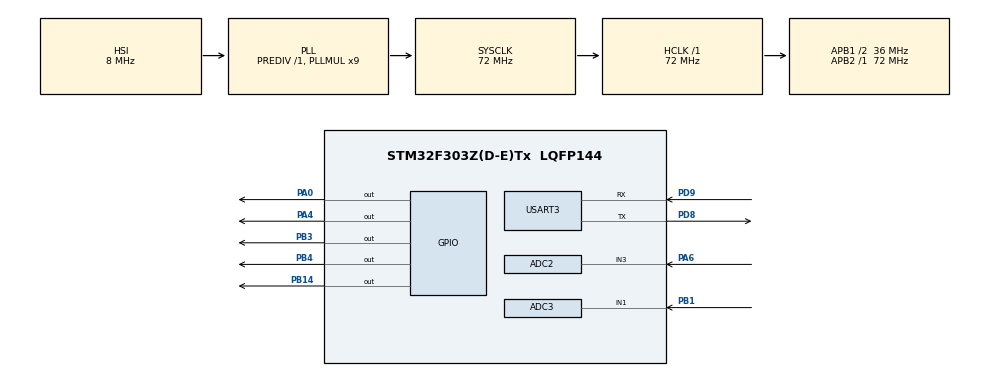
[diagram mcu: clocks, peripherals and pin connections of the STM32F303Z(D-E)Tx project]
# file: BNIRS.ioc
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ADC2.Channel-3\#ChannelRegularConversion=ADC_CHANNEL_3
ADC2.DMAContinuousRequests=ENABLE
ADC2.ExternalTrigConv=ADC_EXTERNALTRIGCONV_T3_TRGO
ADC2.NbrOfConversion=1
ADC2.NbrOfConversionFlag=1
ADC2.Offset-3\#ChannelRegularConversion=0
ADC2.OffsetNumber-3\#ChannelRegularConversion=ADC_OFFSET_NONE
ADC2.Rank-3\#ChannelRegularConversion=1
ADC2.SamplingTime-3\#ChannelRegularConversion=ADC_SAMPLETIME_1CYCLE_5
ADC3.Channel-0\#ChannelRegularConversion=ADC_CHANNEL_1
ADC3.NbrOfConversionFlag=1
ADC3.Offset-0\#ChannelRegularConversion=0
ADC3.OffsetNumber-0\#ChannelRegularConversion=ADC_OFFSET_NONE
ADC3.Rank-0\#ChannelRegularConversion=1
ADC3.SamplingTime-0\#ChannelRegularConversion=ADC_SAMPLETIME_1CYCLE_5
ADC3.master=1
Dma.ADC2.1.Direction=DMA_PERIPH_TO_MEMORY
Dma.ADC2.1.Instance=DMA2_Channel1
Dma.ADC2.1.MemDataAlignment=DMA_MDATAALIGN_HALFWORD
Dma.ADC2.1.MemInc=DMA_MINC_ENABLE
Dma.ADC2.1.Mode=DMA_CIRCULAR
Dma.ADC2.1.PeriphDataAlignment=DMA_PDATAALIGN_HALFWORD
Dma.ADC2.1.PeriphInc=DMA_PINC_DISABLE
Dma.ADC2.1.Priority=DMA_PRIORITY_LOW
Dma.Request0=TIM6_UP
Dma.Request1=ADC2
Dma.TIM6_UP.0.Direction=DMA_PERIPH_TO_MEMORY
Dma.TIM6_UP.0.Instance=DMA1_Channel3
Dma.TIM6_UP.0.MemDataAlignment=DMA_MDATAALIGN_WORD
Dma.TIM6_UP.0.MemInc=DMA_MINC_ENABLE
Dma.TIM6_UP.0.Mode=DMA_CIRCULAR
Dma.TIM6_UP.0.PeriphDataAlignment=DMA_PDATAALIGN_WORD
Dma.TIM6_UP.0.PeriphInc=DMA_PINC_DISABLE
Dma.TIM6_UP.0.Priority=DMA_PRIORITY_LOW
Mcu.Family=STM32F3
Mcu.Name=STM32F303Z(D-E)Tx
Mcu.Package=LQFP144
NVIC.DMA1_Channel3_IRQn=true\:0\:0\:false\:false\:true\:false\:true
NVIC.DMA2_Channel1_IRQn=true\:0\:0\:false\:false\:true\:false\:true
NVIC.PriorityGroup=NVIC_PRIORITYGROUP_4
PA0.Signal=GPIO_Output
PA4.Signal=GPIO_Output
PA6.Mode=IN3-Single-Ended
PA6.Signal=ADC2_IN3
PB1.Mode=IN1-Single-Ended
PB1.Signal=ADC3_IN1
PB14.Signal=GPIO_Output
PB3.Signal=GPIO_Output
PB4.Signal=GPIO_Output
PD8.Mode=Asynchronous
PD8.Signal=USART3_TX
PD9.Mode=Asynchronous
PD9.Signal=USART3_RX
PF0-OSC_IN.Mode=HSE-External-Oscillator
PF0-OSC_IN.Signal=RCC_OSC_IN
PF1-OSC_OUT.Mode=HSE-External-Oscillator
PF1-OSC_OUT.Signal=RCC_OSC_OUT
ProjectManager.HeapSize=0x200
ProjectManager.StackSize=0x400
ProjectManager.TargetToolchain=STM32CubeIDE
RCC.AHBFreq_Value=72000000
RCC.APB1CLKDivider=RCC_HCLK_DIV2
RCC.APB1Freq_Value=36000000
RCC.APB1TimFreq_Value=72000000
RCC.APB2Freq_Value=72000000
RCC.APB2TimFreq_Value=72000000
RCC.CortexFreq_Value=72000000
RCC.HCLKFreq_Value=72000000
RCC.HSE_VALUE=8000000
RCC.HSI_VALUE=8000000
RCC.LSE_VALUE=32768
RCC.PLLMUL=RCC_PLL_MUL9
RCC.PRESCALERUSB=RCC_USBCLKSOURCE_PLL_DIV1_5
RCC.SYSCLKFreq_VALUE=72000000
RCC.SYSCLKSourceVirtual=RCC_SYSCLKSOURCE_PLLCLK
RCC.USBFreq_Value=48000000
TIM3.Period=2
TIM3.Prescaler=1799
TIM3.TIM_MasterOutputTrigger=TIM_TRGO_UPDATE
TIM6.Period=2
TIM6.Prescaler=17999
USART3.VirtualMode-Asynchronous=VM_ASYNC
VP_TIM3_VS_ClockSourceINT.Mode=Internal
VP_TIM6_VS_ClockSourceINT.Mode=Enable_Timer
board=NUCLEO-F303ZE

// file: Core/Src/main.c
/* USER CODE BEGIN Header */
/**
  ******************************************************************************
  * @author         : André Luís Conradt
  * @email          : andre.conradt@gmail.com
  * @file           : main.c
  * @brief          : Main program body
  ******************************************************************************
  * @attention
  *
  * <h2><center>&copy; Copyright (c) 2020 STMicroelectronics.
  * All rights reserved.</center></h2>
  *
  * This software component is licensed by ST under BSD 3-Clause license,
  * the "License"; You may not use this file except in compliance with the
  * License. You may obtain a copy of the License at:
  *                        opensource.org/licenses/BSD-3-Clause
  *
  ******************************************************************************
  */
/* USER CODE END Header */

#include "main.h"
#include <stdio.h>

/* USER CODE BEGIN PTD */
#ifdef __GNUC__
  /* With GCC, small printf (option LD Linker->Libraries->Small printf
     set to 'Yes') calls __io_putchar() */
  #define PUTCHAR_PROTOTYPE int __io_putchar(int ch)
#else
  #define PUTCHAR_PROTOTYPE int fputc(int ch, FILE *f)
#endif /* __GNUC__ */
/* USER CODE END PTD */

ADC_HandleTypeDef hadc2;
ADC_HandleTypeDef hadc3;
DMA_HandleTypeDef hdma_adc2;

TIM_HandleTypeDef htim3;
TIM_HandleTypeDef htim6;
DMA_HandleTypeDef hdma_tim6_up;

UART_HandleTypeDef huart3;

void SystemClock_Config(void);
static void MX_GPIO_Init(void);
static void MX_DMA_Init(void);
static void MX_USART3_UART_Init(void);
static void MX_TIM6_Init(void);
static void MX_ADC2_Init(void);
static void MX_ADC3_Init(void);
static void MX_TIM3_Init(void);

/* USER CODE BEGIN 0 */
//binary sequence to be written in the BSRR register of the GPIOA port pin PA0
uint32_t DIBS_sequence[] =
{1,1,1,65536,65536,65536,65536,65536,1,1,65536,1,1,65536,1,65536,1,1,1,65536,65536,65536,65536,65536,1,1,65536,1,1,65536,1,65536}; // 1 -> High & 65536 -> Low

int Measures = 0, Decade = 0, Led1 = 0, Led2 = 0, Led3 = 0;
uint16_t ADC_BIA0[2001], ADC_BIA1[2001], ADC_BIA2[2001], ADC_BIA3[2001];
uint32_t DECADA0[2001], DECADA1[2001], DECADA2[2001], DECADA3[2001];
/* USER CODE END 0 */

int main(void)
{

  /* MCU Configuration--------------------------------------------------------*/

  /* Reset of all peripherals, Initializes the Flash interface and the Systick. */
  HAL_Init();

  /* Configure the system clock */
  SystemClock_Config();

  /* Initialize all configured peripherals */
  MX_GPIO_Init();
  MX_DMA_Init();
  MX_USART3_UART_Init();
  MX_TIM6_Init();
  MX_ADC2_Init();
  MX_ADC3_Init();
  MX_TIM3_Init();
  /* USER CODE BEGIN 2 */
  NIRS(); //Function responsible for activating the 3 infrared leds and measuring the voltage of the photo diode
  Measurement0(); //Function responsible for injecting the first decade of DIBS
  /* USER CODE END 2 */

  /* Infinite loop */
  while (1)
  {

  }
}

void SystemClock_Config(void)
{
  RCC_OscInitTypeDef RCC_OscInitStruct = {0};
  RCC_ClkInitTypeDef RCC_ClkInitStruct = {0};
  RCC_PeriphCLKInitTypeDef PeriphClkInit = {0};

  /** Initializes the CPU, AHB and APB busses clocks
  */
  RCC_OscInitStruct.OscillatorType = RCC_OSCILLATORTYPE_HSI;
  RCC_OscInitStruct.HSIState = RCC_HSI_ON;
  RCC_OscInitStruct.HSICalibrationValue = RCC_HSICALIBRATION_DEFAULT;
  RCC_OscInitStruct.PLL.PLLState = RCC_PLL_ON;
  RCC_OscInitStruct.PLL.PLLSource = RCC_PLLSOURCE_HSI;
  RCC_OscInitStruct.PLL.PLLMUL = RCC_PLL_MUL9;
  RCC_OscInitStruct.PLL.PREDIV = RCC_PREDIV_DIV1;
  if (HAL_RCC_OscConfig(&RCC_OscInitStruct) != HAL_OK)
  {
    Error_Handler();
  }
  /** Initializes the CPU, AHB and APB busses clocks
  */
  RCC_ClkInitStruct.ClockType = RCC_CLOCKTYPE_HCLK|RCC_CLOCKTYPE_SYSCLK
                              |RCC_CLOCKTYPE_PCLK1|RCC_CLOCKTYPE_PCLK2;
  RCC_ClkInitStruct.SYSCLKSource = RCC_SYSCLKSOURCE_PLLCLK;
  RCC_ClkInitStruct.AHBCLKDivider = RCC_SYSCLK_DIV1;
  RCC_ClkInitStruct.APB1CLKDivider = RCC_HCLK_DIV2;
  RCC_ClkInitStruct.APB2CLKDivider = RCC_HCLK_DIV1;

  if (HAL_RCC_ClockConfig(&RCC_ClkInitStruct, FLASH_LATENCY_2) != HAL_OK)
  {
    Error_Handler();
  }
  PeriphClkInit.PeriphClockSelection = RCC_PERIPHCLK_USART3|RCC_PERIPHCLK_ADC12
                              |RCC_PERIPHCLK_ADC34|RCC_PERIPHCLK_TIM34;
  PeriphClkInit.Usart3ClockSelection = RCC_USART3CLKSOURCE_PCLK1;
  PeriphClkInit.Adc12ClockSelection = RCC_ADC12PLLCLK_DIV1;
  PeriphClkInit.Adc34ClockSelection = RCC_ADC34PLLCLK_DIV1;
  PeriphClkInit.Tim34ClockSelection = RCC_TIM34CLK_HCLK;
  if (HAL_RCCEx_PeriphCLKConfig(&PeriphClkInit) != HAL_OK)
  {
    Error_Handler();
  }
}

static void MX_ADC2_Init(void)
{

  ADC_ChannelConfTypeDef sConfig = {0};

  /** Common config
  */
  hadc2.Instance = ADC2;
  hadc2.Init.ClockPrescaler = ADC_CLOCK_ASYNC_DIV1;
  hadc2.Init.Resolution = ADC_RESOLUTION_12B;
  hadc2.Init.ScanConvMode = ADC_SCAN_DISABLE;
  hadc2.Init.ContinuousConvMode = DISABLE;
  hadc2.Init.DiscontinuousConvMode = DISABLE;
  hadc2.Init.ExternalTrigConvEdge = ADC_EXTERNALTRIGCONVEDGE_RISING;
  hadc2.Init.ExternalTrigConv = ADC_EXTERNALTRIGCONV_T3_TRGO;
  hadc2.Init.DataAlign = ADC_DATAALIGN_RIGHT;
  hadc2.Init.NbrOfConversion = 1;
  hadc2.Init.DMAContinuousRequests = ENABLE;
  hadc2.Init.EOCSelection = ADC_EOC_SINGLE_CONV;
  hadc2.Init.LowPowerAutoWait = DISABLE;
  hadc2.Init.Overrun = ADC_OVR_DATA_OVERWRITTEN;
  if (HAL_ADC_Init(&hadc2) != HAL_OK)
  {
    Error_Handler();
  }
  /** Configure Regular Channel
  */
  sConfig.Channel = ADC_CHANNEL_3;
  sConfig.Rank = ADC_REGULAR_RANK_1;
  sConfig.SingleDiff = ADC_SINGLE_ENDED;
  sConfig.SamplingTime = ADC_SAMPLETIME_1CYCLE_5;
  sConfig.OffsetNumber = ADC_OFFSET_NONE;
  sConfig.Offset = 0;
  if (HAL_ADC_ConfigChannel(&hadc2, &sConfig) != HAL_OK)
  {
    Error_Handler();
  }

}

static void MX_ADC3_Init(void)
{

  ADC_MultiModeTypeDef multimode = {0};
  ADC_ChannelConfTypeDef sConfig = {0};

  /** Common config
  */
  hadc3.Instance = ADC3;
  hadc3.Init.ClockPrescaler = ADC_CLOCK_ASYNC_DIV1;
  hadc3.Init.Resolution = ADC_RESOLUTION_12B;
  hadc3.Init.ScanConvMode = ADC_SCAN_DISABLE;
  hadc3.Init.ContinuousConvMode = DISABLE;
  hadc3.Init.DiscontinuousConvMode = DISABLE;
  hadc3.Init.ExternalTrigConvEdge = ADC_EXTERNALTRIGCONVEDGE_NONE;
  hadc3.Init.ExternalTrigConv = ADC_SOFTWARE_START;
  hadc3.Init.DataAlign = ADC_DATAALIGN_RIGHT;
  hadc3.Init.NbrOfConversion = 1;
  hadc3.Init.DMAContinuousRequests = DISABLE;
  hadc3.Init.EOCSelection = ADC_EOC_SINGLE_CONV;
  hadc3.Init.LowPowerAutoWait = DISABLE;
  hadc3.Init.Overrun = ADC_OVR_DATA_OVERWRITTEN;
  if (HAL_ADC_Init(&hadc3) != HAL_OK)
  {
    Error_Handler();
  }
  /** Configure the ADC multi-mode
  */
  multimode.Mode = ADC_MODE_INDEPENDENT;
  if (HAL_ADCEx_MultiModeConfigChannel(&hadc3, &multimode) != HAL_OK)
  {
    Error_Handler();
  }
  /** Configure Regular Channel
  */
  sConfig.Channel = ADC_CHANNEL_1;
  sConfig.Rank = ADC_REGULAR_RANK_1;
  sConfig.SingleDiff = ADC_SINGLE_ENDED;
  sConfig.SamplingTime = ADC_SAMPLETIME_1CYCLE_5;
  sConfig.OffsetNumber = ADC_OFFSET_NONE;
  sConfig.Offset = 0;
  if (HAL_ADC_ConfigChannel(&hadc3, &sConfig) != HAL_OK)
  {
    Error_Handler();
  }

}

static void MX_TIM3_Init(void)
{

  TIM_ClockConfigTypeDef sClockSourceConfig = {0};
  TIM_MasterConfigTypeDef sMasterConfig = {0};

  /* USER CODE BEGIN TIM3_Init 1 */
  htim3.Instance = TIM3;
  htim3.Init.Prescaler = 999;
  /* USER CODE END TIM3_Init 1 */
  htim3.Init.CounterMode = TIM_COUNTERMODE_UP;
  htim3.Init.Period = 1;
  htim3.Init.ClockDivision = TIM_CLOCKDIVISION_DIV1;
  htim3.Init.AutoReloadPreload = TIM_AUTORELOAD_PRELOAD_DISABLE;
  if (HAL_TIM_Base_Init(&htim3) != HAL_OK)
  {
    Error_Handler();
  }
  sClockSourceConfig.ClockSource = TIM_CLOCKSOURCE_INTERNAL;
  if (HAL_TIM_ConfigClockSource(&htim3, &sClockSourceConfig) != HAL_OK)
  {
    Error_Handler();
  }
  sMasterConfig.MasterOutputTrigger = TIM_TRGO_UPDATE;
  sMasterConfig.MasterSlaveMode = TIM_MASTERSLAVEMODE_DISABLE;
  if (HAL_TIMEx_MasterConfigSynchronization(&htim3, &sMasterConfig) != HAL_OK)
  {
    Error_Handler();
  }

}

static void MX_TIM6_Init(void)
{

  TIM_MasterConfigTypeDef sMasterConfig = {0};

  /* USER CODE BEGIN TIM6_Init 1 */
  htim6.Instance = TIM6;
  htim6.Init.Prescaler = 17999;
  /* USER CODE END TIM6_Init 1 */
  htim6.Init.CounterMode = TIM_COUNTERMODE_UP;
  htim6.Init.Period = 1;
  htim6.Init.AutoReloadPreload = TIM_AUTORELOAD_PRELOAD_DISABLE;
  if (HAL_TIM_Base_Init(&htim6) != HAL_OK)
  {
    Error_Handler();
  }
  sMasterConfig.MasterOutputTrigger = TIM_TRGO_RESET;
  sMasterConfig.MasterSlaveMode = TIM_MASTERSLAVEMODE_DISABLE;
  if (HAL_TIMEx_MasterConfigSynchronization(&htim6, &sMasterConfig) != HAL_OK)
  {
    Error_Handler();
  }

}

static void MX_USART3_UART_Init(void)
{

  huart3.Instance = USART3;
  huart3.Init.BaudRate = 38400;
  huart3.Init.WordLength = UART_WORDLENGTH_8B;
  huart3.Init.StopBits = UART_STOPBITS_1;
  huart3.Init.Parity = UART_PARITY_NONE;
  huart3.Init.Mode = UART_MODE_TX_RX;
  huart3.Init.HwFlowCtl = UART_HWCONTROL_NONE;
  huart3.Init.OverSampling = UART_OVERSAMPLING_16;
  huart3.Init.OneBitSampling = UART_ONE_BIT_SAMPLE_DISABLE;
  huart3.AdvancedInit.AdvFeatureInit = UART_ADVFEATURE_NO_INIT;
  if (HAL_UART_Init(&huart3) != HAL_OK)
  {
    Error_Handler();
  }

}

static void MX_DMA_Init(void)
{

  /* DMA controller clock enable */
  __HAL_RCC_DMA1_CLK_ENABLE();
  __HAL_RCC_DMA2_CLK_ENABLE();

  /* DMA interrupt init */
  /* DMA1_Channel3_IRQn interrupt configuration */
  HAL_NVIC_SetPriority(DMA1_Channel3_IRQn, 0, 0);
  HAL_NVIC_EnableIRQ(DMA1_Channel3_IRQn);
  /* DMA2_Channel1_IRQn interrupt configuration */
  HAL_NVIC_SetPriority(DMA2_Channel1_IRQn, 0, 0);
  HAL_NVIC_EnableIRQ(DMA2_Channel1_IRQn);

}

static void MX_GPIO_Init(void)
{
  GPIO_InitTypeDef GPIO_InitStruct = {0};

  /* GPIO Ports Clock Enable */
  __HAL_RCC_GPIOF_CLK_ENABLE();
  __HAL_RCC_GPIOA_CLK_ENABLE();
  __HAL_RCC_GPIOB_CLK_ENABLE();
  __HAL_RCC_GPIOD_CLK_ENABLE();

  /*Configure GPIO pin Output Level */
  HAL_GPIO_WritePin(GPIOA, GPIO_PIN_0|GPIO_PIN_4, GPIO_PIN_RESET);

  /*Configure GPIO pin Output Level */
  HAL_GPIO_WritePin(GPIOB, GPIO_PIN_14|GPIO_PIN_3|GPIO_PIN_4, GPIO_PIN_RESET);

  /*Configure GPIO pins : PA0 PA4 */
  GPIO_InitStruct.Pin = GPIO_PIN_0|GPIO_PIN_4;
  GPIO_InitStruct.Mode = GPIO_MODE_OUTPUT_PP;
  GPIO_InitStruct.Pull = GPIO_NOPULL;
  GPIO_InitStruct.Speed = GPIO_SPEED_FREQ_HIGH;
  HAL_GPIO_Init(GPIOA, &GPIO_InitStruct);

  /*Configure GPIO pins : PB14 PB3 PB4 */
  GPIO_InitStruct.Pin = GPIO_PIN_14|GPIO_PIN_3|GPIO_PIN_4;
  GPIO_InitStruct.Mode = GPIO_MODE_OUTPUT_PP;
  GPIO_InitStruct.Pull = GPIO_NOPULL;
  GPIO_InitStruct.Speed = GPIO_SPEED_FREQ_LOW;
  HAL_GPIO_Init(GPIOB, &GPIO_InitStruct);

}

/* USER CODE BEGIN 4 */
PUTCHAR_PROTOTYPE
{
  /* Place your implementation of fputc here */
  /* e.g. write a character to the EVAL_COM1 and Loop until the end of transmission */
  HAL_UART_Transmit(&huart3, (uint8_t *)&ch, 1, 0xFFFF);

  return ch;
}

/**
  ******************************************************************************
  Here all the functions are responsible for the impedance analyzer and NIRS for
  this project. The loop routine is maintained by the HAL_ADC_ConvCpltCallback
  function, which is always triggered at the end of an ADC conversion by DMA.
  ******************************************************************************
  */
void NIRS(void)
{
	  HAL_GPIO_WritePin(GPIOA,GPIO_PIN_4,GPIO_PIN_SET);
	  HAL_Delay(500);
	  HAL_ADC_Start(&hadc3);
	  HAL_ADC_PollForConversion(&hadc3, HAL_MAX_DELAY);
	  Led1 = HAL_ADC_GetValue(&hadc3);
	  HAL_ADC_Stop(&hadc3);
	  HAL_GPIO_WritePin(GPIOA,GPIO_PIN_4,GPIO_PIN_RESET);

	  HAL_GPIO_WritePin(GPIOB,GPIO_PIN_3,GPIO_PIN_SET);
	  HAL_Delay(500);
	  HAL_ADC_Start(&hadc3);
	  HAL_ADC_PollForConversion(&hadc3, HAL_MAX_DELAY);
	  Led2 = HAL_ADC_GetValue(&hadc3);
	  HAL_ADC_Stop(&hadc3);
	  HAL_GPIO_WritePin(GPIOB,GPIO_PIN_3,GPIO_PIN_RESET);

	  HAL_GPIO_WritePin(GPIOB,GPIO_PIN_4,GPIO_PIN_SET);
	  HAL_Delay(500);
	  HAL_ADC_Start(&hadc3);
	  HAL_ADC_PollForConversion(&hadc3, HAL_MAX_DELAY);
	  Led3 = HAL_ADC_GetValue(&hadc3);
	  HAL_ADC_Stop(&hadc3);
	  HAL_GPIO_WritePin(GPIOB,GPIO_PIN_4,GPIO_PIN_RESET);
}

void Measurement0(void)
{
	  HAL_TIM_Base_Init(&htim6);
	  HAL_TIM_Base_Start(&htim6);

	  hdma_tim6_up.Instance = DMA1_Channel3;
	  hdma_tim6_up.Init.Direction = DMA_MEMORY_TO_PERIPH;
	  hdma_tim6_up.Init.PeriphInc = DMA_PINC_DISABLE;
	  hdma_tim6_up.Init.MemInc = DMA_MINC_ENABLE;
	  hdma_tim6_up.Init.PeriphDataAlignment = DMA_PDATAALIGN_WORD;
	  hdma_tim6_up.Init.MemDataAlignment = DMA_MDATAALIGN_WORD;
	  hdma_tim6_up.Init.Mode = DMA_CIRCULAR;
	  hdma_tim6_up.Init.Priority = DMA_PRIORITY_LOW;
	  HAL_DMA_Init(&hdma_tim6_up);

	  HAL_DMA_Start(&hdma_tim6_up, (uint32_t)DIBS_sequence, (uint32_t)&GPIOA->BSRR, 32); //initialization of data transfer in the DIBS_sequence buffer to the GPIOA periphery
	  __HAL_TIM_ENABLE_DMA(&htim6, TIM_DMA_UPDATE);

	  HAL_TIM_Base_Init(&htim3);
	  HAL_TIM_Base_Start(&htim3);

	  hdma_adc2.Instance = DMA2_Channel1;
	  hdma_adc2.Init.Direction = DMA_PERIPH_TO_MEMORY;
	  hdma_adc2.Init.PeriphInc = DMA_PINC_DISABLE;
	  hdma_adc2.Init.MemInc = DMA_MINC_ENABLE;
	  hdma_adc2.Init.PeriphDataAlignment = DMA_PDATAALIGN_HALFWORD;
	  hdma_adc2.Init.MemDataAlignment = DMA_MDATAALIGN_HALFWORD;
	  hdma_adc2.Init.Mode = DMA_NORMAL;
	  hdma_adc2.Init.Priority = DMA_PRIORITY_LOW;
	  HAL_DMA_Init(&hdma_adc2);

	  HAL_ADC_Start_DMA(&hadc2, (uint32_t*)ADC_BIA0, 2001);
}

void Measurement1(void)
{
	  HAL_TIM_Base_Init(&htim6);
	  HAL_TIM_Base_Start(&htim6);

	  hdma_tim6_up.Instance = DMA1_Channel3;
	  hdma_tim6_up.Init.Direction = DMA_MEMORY_TO_PERIPH;
	  hdma_tim6_up.Init.PeriphInc = DMA_PINC_DISABLE;
	  hdma_tim6_up.Init.MemInc = DMA_MINC_ENABLE;
	  hdma_tim6_up.Init.PeriphDataAlignment = DMA_PDATAALIGN_WORD;
	  hdma_tim6_up.Init.MemDataAlignment = DMA_MDATAALIGN_WORD;
	  hdma_tim6_up.Init.Mode = DMA_CIRCULAR;
	  hdma_tim6_up.Init.Priority = DMA_PRIORITY_LOW;
	  HAL_DMA_Init(&hdma_tim6_up);

	  HAL_DMA_Start(&hdma_tim6_up, (uint32_t)DIBS_sequence, (uint32_t)&GPIOA->BSRR, 32); //initialization of data transfer in the DIBS_sequence buffer to the GPIOA periphery
	  __HAL_TIM_ENABLE_DMA(&htim6, TIM_DMA_UPDATE);

	  HAL_TIM_Base_Init(&htim3);
	  HAL_TIM_Base_Start(&htim3);

	  hdma_adc2.Instance = DMA2_Channel1;
	  hdma_adc2.Init.Direction = DMA_PERIPH_TO_MEMORY;
	  hdma_adc2.Init.PeriphInc = DMA_PINC_DISABLE;
	  hdma_adc2.Init.MemInc = DMA_MINC_ENABLE;
	  hdma_adc2.Init.PeriphDataAlignment = DMA_PDATAALIGN_HALFWORD;
	  hdma_adc2.Init.MemDataAlignment = DMA_MDATAALIGN_HALFWORD;
	  hdma_adc2.Init.Mode = DMA_NORMAL;
	  hdma_adc2.Init.Priority = DMA_PRIORITY_LOW;
	  HAL_DMA_Init(&hdma_adc2);

	  HAL_ADC_Start_DMA(&hadc2, (uint32_t*)ADC_BIA1, 2001);
}

void Measurement2(void)
{
	  HAL_TIM_Base_Init(&htim6);
	  HAL_TIM_Base_Start(&htim6);

	  hdma_tim6_up.Instance = DMA1_Channel3;
	  hdma_tim6_up.Init.Direction = DMA_MEMORY_TO_PERIPH;
	  hdma_tim6_up.Init.PeriphInc = DMA_PINC_DISABLE;
	  hdma_tim6_up.Init.MemInc = DMA_MINC_ENABLE;
	  hdma_tim6_up.Init.PeriphDataAlignment = DMA_PDATAALIGN_WORD;
	  hdma_tim6_up.Init.MemDataAlignment = DMA_MDATAALIGN_WORD;
	  hdma_tim6_up.Init.Mode = DMA_CIRCULAR;
	  hdma_tim6_up.Init.Priority = DMA_PRIORITY_LOW;
	  HAL_DMA_Init(&hdma_tim6_up);

	  HAL_DMA_Start(&hdma_tim6_up, (uint32_t)DIBS_sequence, (uint32_t)&GPIOA->BSRR, 32); //initialization of data transfer in the DIBS_sequence buffer to the GPIOA periphery
	  __HAL_TIM_ENABLE_DMA(&htim6, TIM_DMA_UPDATE);

	  HAL_TIM_Base_Init(&htim3);
	  HAL_TIM_Base_Start(&htim3);

	  hdma_adc2.Instance = DMA2_Channel1;
	  hdma_adc2.Init.Direction = DMA_PERIPH_TO_MEMORY;
	  hdma_adc2.Init.PeriphInc = DMA_PINC_DISABLE;
	  hdma_adc2.Init.MemInc = DMA_MINC_ENABLE;
	  hdma_adc2.Init.PeriphDataAlignment = DMA_PDATAALIGN_HALFWORD;
	  hdma_adc2.Init.MemDataAlignment = DMA_MDATAALIGN_HALFWORD;
	  hdma_adc2.Init.Mode = DMA_NORMAL;
	  hdma_adc2.Init.Priority = DMA_PRIORITY_LOW;
	  HAL_DMA_Init(&hdma_adc2);

	  HAL_ADC_Start_DMA(&hadc2, (uint32_t*)ADC_BIA2, 2001);
}

void Measurement3(void)
{
	  HAL_TIM_Base_Init(&htim6);
	  HAL_TIM_Base_Start(&htim6);

	  hdma_tim6_up.Instance = DMA1_Channel3;
	  hdma_tim6_up.Init.Direction = DMA_MEMORY_TO_PERIPH;
	  hdma_tim6_up.Init.PeriphInc = DMA_PINC_DISABLE;
	  hdma_tim6_up.Init.MemInc = DMA_MINC_ENABLE;
	  hdma_tim6_up.Init.PeriphDataAlignment = DMA_PDATAALIGN_WORD;
	  hdma_tim6_up.Init.MemDataAlignment = DMA_MDATAALIGN_WORD;
	  hdma_tim6_up.Init.Mode = DMA_CIRCULAR;
	  hdma_tim6_up.Init.Priority = DMA_PRIORITY_LOW;
	  HAL_DMA_Init(&hdma_tim6_up);

	  HAL_DMA_Start(&hdma_tim6_up, (uint32_t)DIBS_sequence, (uint32_t)&GPIOA->BSRR, 32); //initialization of data transfer in the DIBS_sequence buffer to the GPIOA periphery
	  __HAL_TIM_ENABLE_DMA(&htim6, TIM_DMA_UPDATE);

	  HAL_TIM_Base_Init(&htim3);
	  HAL_TIM_Base_Start(&htim3);

	  hdma_adc2.Instance = DMA2_Channel1;
	  hdma_adc2.Init.Direction = DMA_PERIPH_TO_MEMORY;
	  hdma_adc2.Init.PeriphInc = DMA_PINC_DISABLE;
	  hdma_adc2.Init.MemInc = DMA_MINC_ENABLE;
	  hdma_adc2.Init.PeriphDataAlignment = DMA_PDATAALIGN_HALFWORD;
	  hdma_adc2.Init.MemDataAlignment = DMA_MDATAALIGN_HALFWORD;
	  hdma_adc2.Init.Mode = DMA_NORMAL;
	  hdma_adc2.Init.Priority = DMA_PRIORITY_LOW;
	  HAL_DMA_Init(&hdma_adc2);

	  HAL_ADC_Start_DMA(&hadc2, (uint32_t*)ADC_BIA3, 2001);
}

void HAL_ADC_ConvCpltCallback(ADC_HandleTypeDef* hadc)
{
	HAL_ADC_Stop_DMA(&hadc2);
	HAL_DMA_Abort(&hdma_tim6_up);

	if(Decade == 0)
	{
		htim3.Init.Prescaler = 8999;
		htim6.Init.Prescaler = 17999;

		for(int i = 0;i < 2001;i++)
		{
			DECADA0[i] = DECADA0[i] + ADC_BIA0[i];
		}
		for(int i = 0;i < 2001;i++)
		{
			ADC_BIA0[i] = 0;
		}
		if(Measures < 100)
		{
			Measures ++;
			Measurement0();
		}
		else
		{
			for(int i = 0;i < 2001;i++)
			{
				DECADA0[i] = DECADA0[i]/100;
			}
			for(int i = 0;i < 2001;i++)
			{
				printf("%li\n",DECADA0[i]);
			}
			Decade ++;
		}
	}
	if(Decade == 1)
	{
		htim3.Init.Prescaler = 899;
		htim6.Init.Prescaler = 1799;

		for(int i = 0;i < 2001;i++)
		{
			DECADA1[i] = DECADA1[i] + ADC_BIA1[i];
		}
		for(int i = 0;i < 2001;i++)
		{
			ADC_BIA1[i] = 0;
		}
		if(Measures < 200)
		{
			Measures ++;
			Measurement1();
		}
		else
		{
			for(int i = 0;i < 2001;i++)
			{
				DECADA1[i] = DECADA1[i]/100;
			}
			for(int i = 0;i < 2001;i++)
			{
				printf("%li\n",DECADA1[i]);
			}
			Decade ++;
		}
	}
	if(Decade == 2)
	{
		htim3.Init.Prescaler = 89;
		htim6.Init.Prescaler = 179;

		for(int i = 0;i < 2001;i++)
		{
			DECADA2[i] = DECADA2[i] + ADC_BIA2[i];
		}
		for(int i = 0;i < 2001;i++)
		{
			ADC_BIA2[i] = 0;
		}
		if(Measures < 300)
		{
			Measures ++;
			Measurement2();
		}
		else
		{
			for(int i = 0;i < 2001;i++)
			{
				DECADA2[i] = DECADA2[i]/100;
			}
			for(int i = 0;i < 2001;i++)
			{
				printf("%li\n",DECADA2[i]);
			}
			Decade ++;
		}
	}
	if(Decade == 3)
	{
		htim3.Init.Prescaler = 8;
		htim6.Init.Prescaler = 17;

		for(int i = 0;i < 2001;i++)
		{
			DECADA3[i] = DECADA3[i] + ADC_BIA3[i];
		}
		for(int i = 0;i < 2001;i++)
		{
			ADC_BIA3[i] = 0;
		}
		if(Measures < 400)
		{
			Measures ++;
			Measurement3();
		}
		else
		{
			for(int i = 0;i < 2001;i++)
			{
				DECADA3[i] = DECADA3[i]/100;
			}
			for(int i = 0;i < 2001;i++)
			{
				printf("%li\n",DECADA3[i]);
			}
			printf("%i\n",Led1);
			printf("%i\n",Led2);
			printf("%i\n",Led3);
		}
	}
}
/* USER CODE END 4 */

void Error_Handler(void)
{
}

/************************ (C) COPYRIGHT STMicroelectronics *****END OF FILE****/
